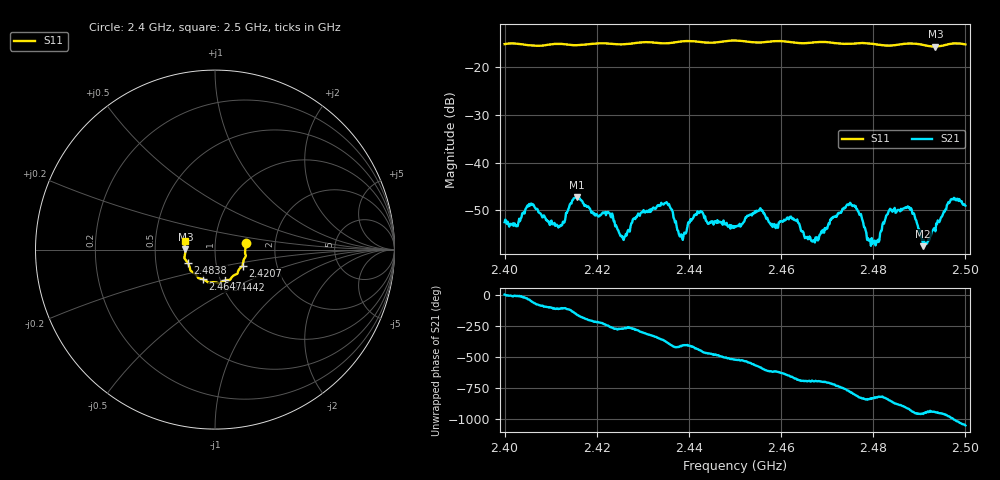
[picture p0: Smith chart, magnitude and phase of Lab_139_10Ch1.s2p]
# Hz S RI R 50
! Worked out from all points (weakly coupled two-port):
!   601 points, 2.4 GHz to 2.5 GHz, reference 50 ohm
!   highest |S21| = -47.21 dB at 2.4157 GHz (marker M1); lowest = -57.5 dB at 2.4908 GHz (marker M2)
!   lowest |S11| = -15.7 dB at 2.4935 GHz (marker M3), VSWR 1.39, Z = 35.9 + j0.119 ohm
!   |S11| at or under -10 dB: start of sweep to end of sweep
!   S12 and S22 are empty: the file has one direction only
!   S11 on the Smith chart (normalised r, x): 2.4 GHz: 1.40, +0.11; 2.4207 GHz: 1.34, -0.25; 2.4442 GHz: 1.06, -0.37; 2.4647 GHz: 0.83, -0.29; 2.4838 GHz: 0.73, -0.11; 2.5 GHz: 0.71, +0.07
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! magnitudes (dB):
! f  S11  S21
! 2.4 GHz  -15.2  -52.5
! 2.4058 GHz  -15.5  -48.6
! 2.412 GHz  -15.1  -53.4
! 2.4157 GHz  -15.4  -47.2
! 2.4167 GHz  -15.3  -47.9
! 2.4207 GHz  -15.0  -51.0
! 2.4257 GHz  -15.2  -55.5
! 2.4333 GHz  -14.9  -48.9
! 2.4383 GHz  -14.6  -55.0
! 2.4442 GHz  -14.9  -52.8
! 2.45 GHz  -14.4  -53.3
! 2.4555 GHz  -14.8  -49.5
! 2.4647 GHz  -15.0  -54.4
! 2.4667 GHz  -14.8  -56.5
! 2.4748 GHz  -15.1  -48.7
! 2.4808 GHz  -15.2  -56.4
! 2.4833 GHz  -15.5  -50.2
! 2.4838 GHz  -15.5  -50.0
! 2.4878 GHz  -15.0  -49.3
! 2.4908 GHz  -15.3  -57.5
! 2.4935 GHz  -15.7  -54.4
! 2.5 GHz  -15.2  -49.0
